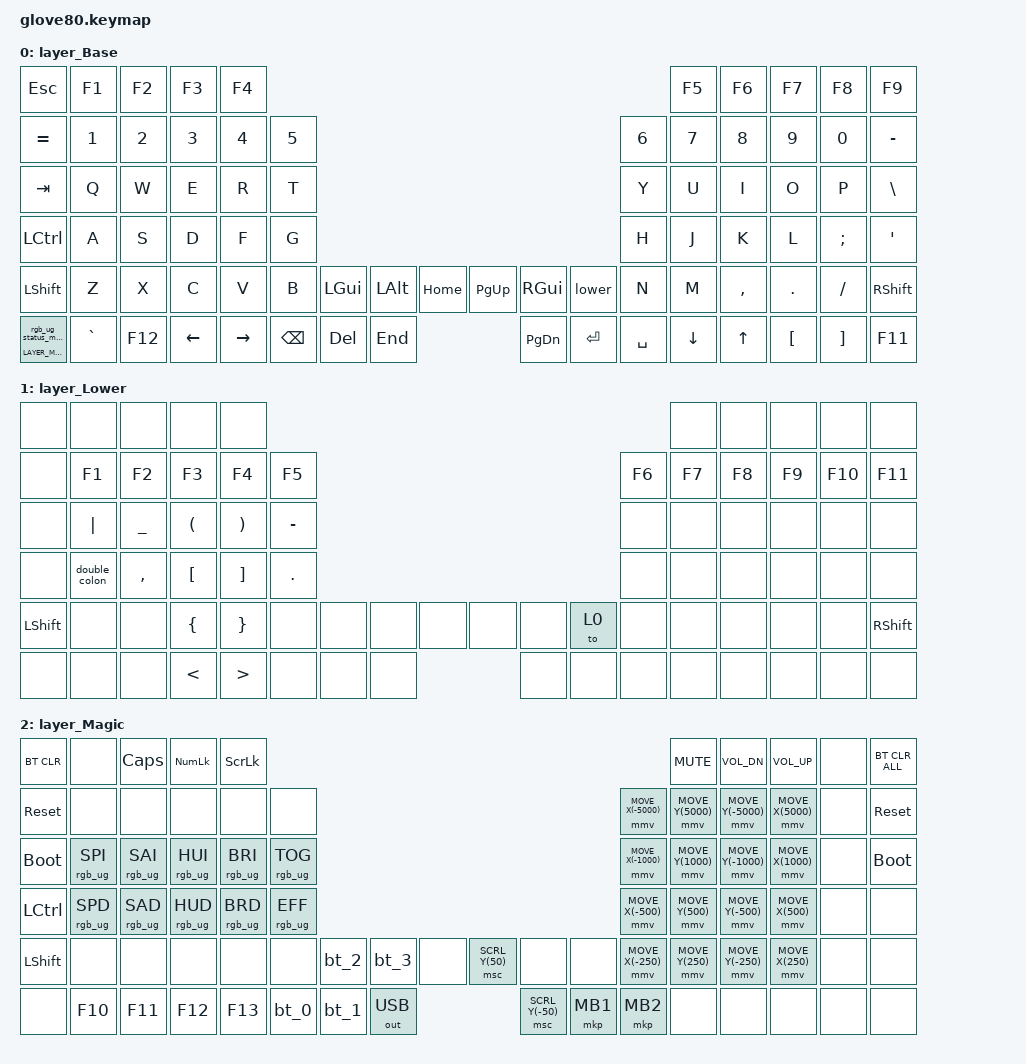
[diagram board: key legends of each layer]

/*
 * Copyright (c) 2020 The ZMK Contributors
 * Copyright (c) 2023 Innaworks Development Limited, trading as MoErgo
 *
 * SPDX-License-Identifier: MIT
 */


/* THIS FILE WAS GENERATED BY GLOVE80 LAYOUT EDITOR
 *
 * This file was generated automatically. You may or may not want to
 * edit it directly.
 */

#include <behaviors.dtsi>
/* Include all behaviour includes needed */
#include <dt-bindings/zmk/outputs.h>
#include <dt-bindings/zmk/keys.h>
#include <dt-bindings/zmk/bt.h>
#include <dt-bindings/zmk/rgb.h>

/* Automatically generated layer name #define */
#define LAYER_Base 0
#define LAYER_Lower 1
#define LAYER_Magic 2

/* To deal with the situation where there is no Lower layer, to keep &lower happy */
#ifndef LAYER_Lower
#define LAYER_Lower 0
#endif

/* Custom Device-tree */
// ==== MOUSE-KEY <section begins> ====
#define ZMK_MOUSE_DEFAULT_MOVE_VAL 500
#define ZMK_MOUSE_DEFAULT_SCRL_VAL 50

#include <dt-bindings/zmk/mouse.h>

&mmv {
  acceleration-exponent = <1>;      // 1
  time-to-max-speed-ms = <0>;    // 40
  delay-ms = <0>;                   // 0
};

&msc {
  acceleration-exponent = <1>;      // 0
  time-to-max-speed-ms = <0>;    // 40
  delay-ms = <0>;                   // 10
};
// ==== MOUSE-KEY <section ends> =====



/* Glove80 system behavior & macros */
/ {
    behaviors {
        // For the "layer" key, it'd nice to be able to use it as either a shift or a toggle.
        // Configure it as a tap dance, so the first tap (or hold) is a &mo and the second tap is a &to
        lower: lower {
            compatible = "zmk,behavior-tap-dance";
            label = "LAYER_TAP_DANCE";
            #binding-cells = <0>;
            tapping-term-ms = <200>;
            bindings = <&mo LAYER_Lower>, <&to LAYER_Lower>;
        };
    };
};

/ {
    macros {
        rgb_ug_status_macro: rgb_ug_status_macro {
            label = "RGB_UG_STATUS";
            compatible = "zmk,behavior-macro";
            #binding-cells = <0>;
            bindings
                = <&rgb_ug RGB_STATUS>;
        };
    };
};


/ {
#ifdef BT_DISC_CMD
    behaviors {
        bt_0: bt_0 {
            compatible = "zmk,behavior-tap-dance";
            label = "BT_0";
            #binding-cells = <0>;
            tapping-term-ms = <200>;
            bindings = <&bt_select_0>, <&bt BT_DISC 0>;
        };
        bt_1: bt_1 {
            compatible = "zmk,behavior-tap-dance";
            label = "BT_1";
            #binding-cells = <0>;
            tapping-term-ms = <200>;
            bindings = <&bt_select_1>, <&bt BT_DISC 1>;
        };
        bt_2: bt_2 {
            compatible = "zmk,behavior-tap-dance";
            label = "BT_2";
            #binding-cells = <0>;
            tapping-term-ms = <200>;
            bindings = <&bt_select_2>, <&bt BT_DISC 2>;
        };
        bt_3: bt_3 {
            compatible = "zmk,behavior-tap-dance";
            label = "BT_3";
            #binding-cells = <0>;
            tapping-term-ms = <200>;
            bindings = <&bt_select_3>, <&bt BT_DISC 3>;
        };
    };
    macros {
        bt_select_0: bt_select_0 {
            label = "BT_SELECT_0";
            compatible = "zmk,behavior-macro";
            #binding-cells = <0>;
            bindings
                = <&out OUT_BLE>,
                  <&bt BT_SEL 0>;
        };
        bt_select_1: bt_select_1 {
            label = "BT_SELECT_1";
            compatible = "zmk,behavior-macro";
            #binding-cells = <0>;
            bindings
                = <&out OUT_BLE>,
                  <&bt BT_SEL 1>;
        };
        bt_select_2: bt_select_2 {
            label = "BT_SELECT_2";
            compatible = "zmk,behavior-macro";
            #binding-cells = <0>;
            bindings
                = <&out OUT_BLE>,
                  <&bt BT_SEL 2>;
        };
        bt_select_3: bt_select_3 {
            label = "BT_SELECT_3";
            compatible = "zmk,behavior-macro";
            #binding-cells = <0>;
            bindings
                = <&out OUT_BLE>,
                  <&bt BT_SEL 3>;
        };
    };
#else
    macros {
        bt_0: bt_0 {
            label = "BT_0";
            compatible = "zmk,behavior-macro";
            #binding-cells = <0>;
            bindings
                = <&out OUT_BLE>,
                  <&bt BT_SEL 0>;
        };
        bt_1: bt_1 {
            label = "BT_1";
            compatible = "zmk,behavior-macro";
            #binding-cells = <0>;
            bindings
                = <&out OUT_BLE>,
                  <&bt BT_SEL 1>;
        };
        bt_2: bt_2 {
            label = "BT_2";
            compatible = "zmk,behavior-macro";
            #binding-cells = <0>;
            bindings
                = <&out OUT_BLE>,
                  <&bt BT_SEL 2>;
        };
        bt_3: bt_3 {
            label = "BT_3";
            compatible = "zmk,behavior-macro";
            #binding-cells = <0>;
            bindings
                = <&out OUT_BLE>,
                  <&bt BT_SEL 3>;
        };
    };
#endif
};

/ {
    behaviors {
        magic: magic {
            compatible = "zmk,behavior-hold-tap";
            label = "MAGIC_HOLD_TAP";
            #binding-cells = <2>;
            flavor = "tap-preferred";
            tapping-term-ms = <200>;
            bindings = <&mo>, <&rgb_ug_status_macro>;
        };
    };
};

/* #define for key positions */
#define POS_LH_T1 52
#define POS_LH_T2 53
#define POS_LH_T3 54
#define POS_LH_T4 69
#define POS_LH_T5 70
#define POS_LH_T6 71
#define POS_LH_C1R2 15
#define POS_LH_C1R3 27
#define POS_LH_C1R4 39
#define POS_LH_C1R5 51
#define POS_LH_C2R1 4
#define POS_LH_C2R2 14
#define POS_LH_C2R3 26
#define POS_LH_C2R4 38
#define POS_LH_C2R5 50
#define POS_LH_C2R6 68
#define POS_LH_C3R1 3
#define POS_LH_C3R2 13
#define POS_LH_C3R3 25
#define POS_LH_C3R4 37
#define POS_LH_C3R5 49
#define POS_LH_C3R6 67
#define POS_LH_C4R1 2
#define POS_LH_C4R2 12
#define POS_LH_C4R3 24
#define POS_LH_C4R4 36
#define POS_LH_C4R5 48
#define POS_LH_C4R6 66
#define POS_LH_C5R1 1
#define POS_LH_C5R2 11
#define POS_LH_C5R3 23
#define POS_LH_C5R4 35
#define POS_LH_C5R5 47
#define POS_LH_C5R6 65
#define POS_LH_C6R1 0
#define POS_LH_C6R2 10
#define POS_LH_C6R3 22
#define POS_LH_C6R4 34
#define POS_LH_C6R5 46
#define POS_LH_C6R6 64
#define POS_RH_T1 57
#define POS_RH_T2 56
#define POS_RH_T3 55
#define POS_RH_T4 74
#define POS_RH_T5 73
#define POS_RH_T6 72
#define POS_RH_C1R2 16
#define POS_RH_C1R3 28
#define POS_RH_C1R4 40
#define POS_RH_C1R5 58
#define POS_RH_C2R1 5
#define POS_RH_C2R2 17
#define POS_RH_C2R3 29
#define POS_RH_C2R4 41
#define POS_RH_C2R5 59
#define POS_RH_C2R6 75
#define POS_RH_C3R1 6
#define POS_RH_C3R2 18
#define POS_RH_C3R3 30
#define POS_RH_C3R4 42
#define POS_RH_C3R5 60
#define POS_RH_C3R6 76
#define POS_RH_C4R1 7
#define POS_RH_C4R2 19
#define POS_RH_C4R3 31
#define POS_RH_C4R4 43
#define POS_RH_C4R5 61
#define POS_RH_C4R6 77
#define POS_RH_C5R1 8
#define POS_RH_C5R2 20
#define POS_RH_C5R3 32
#define POS_RH_C5R4 44
#define POS_RH_C5R5 62
#define POS_RH_C5R6 78
#define POS_RH_C6R1 9
#define POS_RH_C6R2 21
#define POS_RH_C6R3 33
#define POS_RH_C6R4 45
#define POS_RH_C6R5 63
#define POS_RH_C6R6 79

    /* Custom Defined Behaviors */
/ {
       behaviors {
        double_colon: double_colon {
            compatible = "zmk,behavior-macro";
            #binding-cells = <0>;
            wait-ms = <20>;
            tap-ms = <20>;
            bindings = <&kp COLON &kp COLON>;
        };
    };
};

    /* Automatically generated keymap */
/ {
    keymap {
        compatible = "zmk,keymap";


        layer_Base {
            bindings = <
              &kp ESC     &kp F1   &kp F2    &kp F3     &kp F4                                                                                  &kp F5     &kp F6    &kp F7    &kp F8     &kp F9
            &kp EQUAL     &kp N1   &kp N2    &kp N3     &kp N4  &kp N5                                                                &kp N6    &kp N7     &kp N8    &kp N9    &kp N0  &kp MINUS
              &kp TAB      &kp Q    &kp W     &kp E      &kp R   &kp T                                                                 &kp Y     &kp U      &kp I     &kp O     &kp P   &kp BSLH
            &kp LCTRL      &kp A    &kp S     &kp D      &kp F   &kp G                                                                 &kp H     &kp J      &kp K     &kp L  &kp SEMI    &kp SQT
            &kp LSHFT      &kp Z    &kp X     &kp C      &kp V   &kp B  &kp LGUI  &kp LALT  &kp HOME  &kp PG_UP  &kp RGUI     &lower   &kp N     &kp M  &kp COMMA   &kp DOT  &kp FSLH  &kp RSHFT
 &magic LAYER_Magic 0  &kp GRAVE  &kp F12  &kp LEFT  &kp RIGHT          &kp BSPC   &kp DEL   &kp END  &kp PG_DN   &kp RET  &kp SPACE          &kp DOWN     &kp UP  &kp LBKT  &kp RBKT    &kp F11
            >;
        };

        layer_Lower {
            bindings = <
     &none          &none      &none     &none     &none                                                                      &none   &none   &none    &none      &none
     &none         &kp F1     &kp F2    &kp F3    &kp F4     &kp F5                                                  &kp F6  &kp F7  &kp F8  &kp F9  &kp F10    &kp F11
     &none       &kp PIPE  &kp UNDER  &kp LPAR  &kp RPAR  &kp MINUS                                                   &none   &none   &none   &none    &none      &none
     &none  &double_colon  &kp COMMA  &kp LBKT  &kp RBKT    &kp DOT                                                   &none   &none   &none   &none    &none      &none
 &kp LSHFT          &none      &none  &kp LBRC  &kp RBRC      &none   &none   &none   &none   &none   &none   &to 0   &none   &none   &none   &none    &none  &kp RSHFT
     &none          &none      &none    &kp LT    &kp GT              &none   &none   &none   &none   &none   &none           &none   &none   &none    &none      &none
            >;
        };

        layer_Magic {
            bindings = <
  &bt BT_CLR            &none         &kp CAPS       &kp KP_NUM         &kp SLCK                                                                                                                  &kp C_MUTE        &kp C_VOL_DN       &kp C_VOL_UP   &none  &bt BT_CLR_ALL
  &sys_reset            &none            &none            &none            &none            &none                                                                      &mmv MOVE_X(-5000)  &mmv MOVE_Y(5000)  &mmv MOVE_Y(-5000)  &mmv MOVE_X(5000)   &none      &sys_reset
 &bootloader  &rgb_ug RGB_SPI  &rgb_ug RGB_SAI  &rgb_ug RGB_HUI  &rgb_ug RGB_BRI  &rgb_ug RGB_TOG                                                                      &mmv MOVE_X(-1000)  &mmv MOVE_Y(1000)  &mmv MOVE_Y(-1000)  &mmv MOVE_X(1000)   &none     &bootloader
   &kp LCTRL  &rgb_ug RGB_SPD  &rgb_ug RGB_SAD  &rgb_ug RGB_HUD  &rgb_ug RGB_BRD  &rgb_ug RGB_EFF                                                                       &mmv MOVE_X(-500)   &mmv MOVE_Y(500)   &mmv MOVE_Y(-500)   &mmv MOVE_X(500)   &none           &none
   &kp LSHFT            &none            &none            &none            &none            &none   &bt_2   &bt_3         &none   &msc SCRL_Y(50)     &none     &none   &mmv MOVE_X(-250)   &mmv MOVE_Y(250)   &mmv MOVE_Y(-250)   &mmv MOVE_X(250)   &none           &none
       &none          &kp F10          &kp F11          &kp F12          &kp F13                    &bt_0   &bt_1  &out OUT_USB  &msc SCRL_Y(-50)  &mkp MB1  &mkp MB2                                  &none               &none              &none   &none           &none
            >;
        };

    };
};
